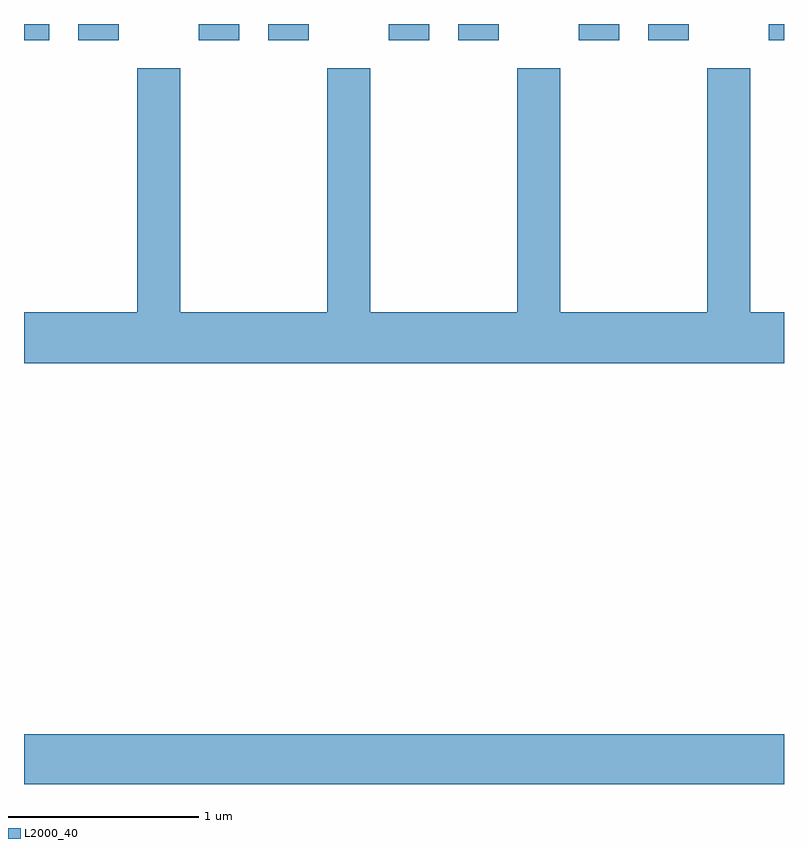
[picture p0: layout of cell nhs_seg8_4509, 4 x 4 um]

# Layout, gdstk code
import gdstk
lib = gdstk.Library(unit=1e-6, precision=1e-09)
def R(c, l, rs):  # rectangles x0, y0, x1, y1
    for r in rs: c.add(gdstk.rectangle(r[:2], r[2:], *l))
def P(c, l, *ps):  # polygons
    for p in ps: c.add(gdstk.Polygon(p, *l))
L2000_40 = (2000, 40)

nhs_seg8_4509 = lib.new_cell('nhs_seg8_4509')
R(nhs_seg8_4509, L2000_40, [(319.611,1916.342,323.611,1916.604), (319.611,1920.256,319.744,1920.342), (319.896,1920.256,320.109,1920.342), (320.531,1920.256,320.744,1920.342), (320.896,1920.256,321.109,1920.342), (321.531,1920.256,321.744,1920.342), (321.896,1920.256,322.109,1920.342), (322.531,1920.256,322.744,1920.342), (322.896,1920.256,323.109,1920.342), (323.531,1920.256,323.611,1920.342)])
P(nhs_seg8_4509, L2000_40, [(323.611,1918.824),(323.434,1918.824),(323.434,1920.109),(323.206,1920.109),(323.206,1918.824),(322.434,1918.824),(322.434,1920.109),(322.206,1920.109),(322.206,1918.824),(321.434,1918.824),(321.434,1920.109),(321.206,1920.109),(321.206,1918.824),(320.434,1918.824),(320.434,1920.109),(320.206,1920.109),(320.206,1918.824),(319.611,1918.824),(319.611,1918.556),(323.611,1918.556)])

lib.write_gds('nhs_seg8_4509.gds')
